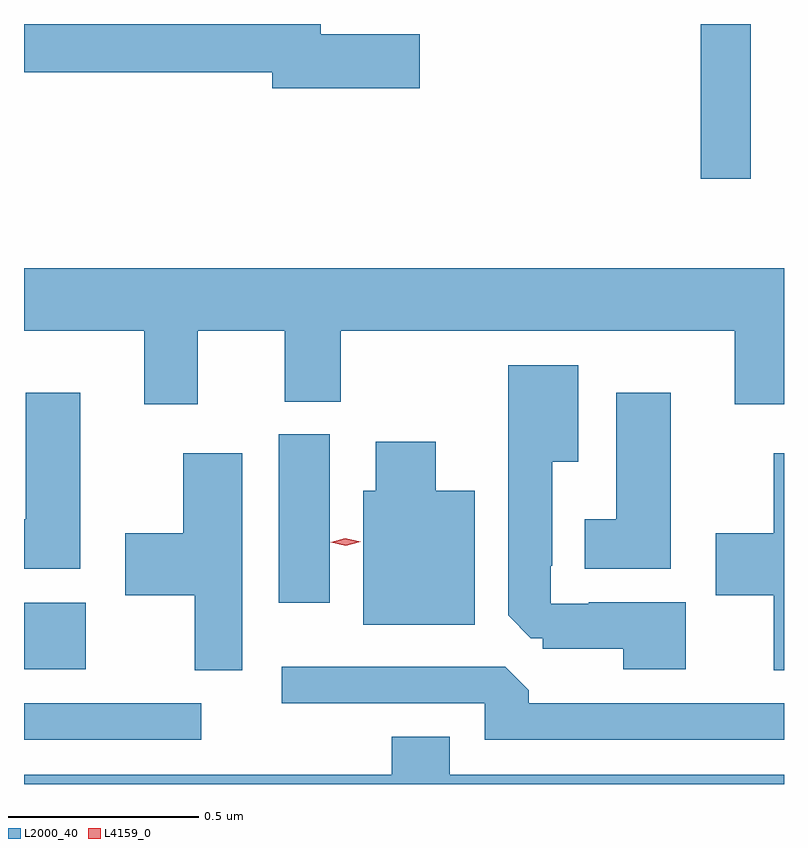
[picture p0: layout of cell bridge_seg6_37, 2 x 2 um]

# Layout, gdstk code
import gdstk
lib = gdstk.Library(unit=1e-6, precision=1e-09)
def R(c, l, rs):  # rectangles x0, y0, x1, y1
    for r in rs: c.add(gdstk.rectangle(r[:2], r[2:], *l))
def P(c, l, *ps):  # polygons
    for p in ps: c.add(gdstk.Polygon(p, *l))
L2000_40 = (2000, 40)
L4159_0 = (4159, 0)

bridge_seg6_37 = lib.new_cell('bridge_seg6_37')
R(bridge_seg6_37, L2000_40, [(1077.777,987.552,1078.243,987.648), (1077.777,987.737,1077.94,987.912), (1078.448,987.912,1078.582,988.356), (1079.558,989.028,1079.689,989.435)])
P(bridge_seg6_37, L2000_40, [(1078.819,989.408),(1078.558,989.408),(1078.558,989.435),(1077.777,989.435),(1077.777,989.308),(1078.43,989.308),(1078.43,989.266),(1078.819,989.266)],
  [(1078.234,988.628),(1078.463,988.628),(1078.463,988.441),(1078.611,988.441),(1078.611,988.628),(1079.648,988.628),(1079.648,988.434),(1079.777,988.434),(1079.777,988.792),(1077.777,988.792),(1077.777,988.628),(1078.094,988.628),(1078.094,988.434),(1078.234,988.434)],
  [(1079.518,987.913),(1079.263,987.913),(1079.263,987.909),(1079.163,987.909),(1079.163,988.009),(1079.167,988.009),(1079.167,988.283),(1079.236,988.283),(1079.236,988.537),(1079.051,988.537),(1079.051,987.879),(1079.111,987.819),(1079.142,987.819),(1079.142,987.791),(1079.354,987.791),(1079.354,987.737),(1079.518,987.737)],
  [(1079.479,988.465),(1079.336,988.465),(1079.336,988.132),(1079.252,988.132),(1079.252,988.001),(1079.479,988.001)],
  [(1077.925,988.465),(1077.782,988.465),(1077.782,988.132),(1077.777,988.132),(1077.777,988.001),(1077.925,988.001)],
  [(1078.963,988.207),(1078.861,988.207),(1078.861,988.336),(1078.703,988.336),(1078.703,988.207),(1078.67,988.207),(1078.67,987.854),(1078.963,987.854)],
  [(1079.777,988.306),(1079.75,988.306),(1079.75,988.095),(1079.598,988.095),(1079.598,987.932),(1079.75,987.932),(1079.75,987.735),(1079.777,987.735)],
  [(1078.351,988.306),(1078.196,988.306),(1078.196,988.095),(1078.044,988.095),(1078.044,987.932),(1078.226,987.932),(1078.226,987.735),(1078.351,987.735)],
  [(1079.777,987.648),(1079.105,987.648),(1079.105,987.682),(1079.043,987.744),(1078.455,987.744),(1078.455,987.648),(1078.989,987.648),(1078.989,987.552),(1079.777,987.552)],
  [(1079.777,987.46),(1078.897,987.46),(1078.897,987.559),(1078.745,987.559),(1078.745,987.46),(1077.777,987.46),(1077.777,987.435),(1079.777,987.435)])
P(bridge_seg6_37, L4159_0, [(1078.624,988.062),(1078.584,988.071),(1078.584,988.071),(1078.584,988.071),(1078.623,988.082),(1078.663,988.072),(1078.663,988.072),(1078.663,988.072)])

lib.write_gds('bridge_seg6_37.gds')
